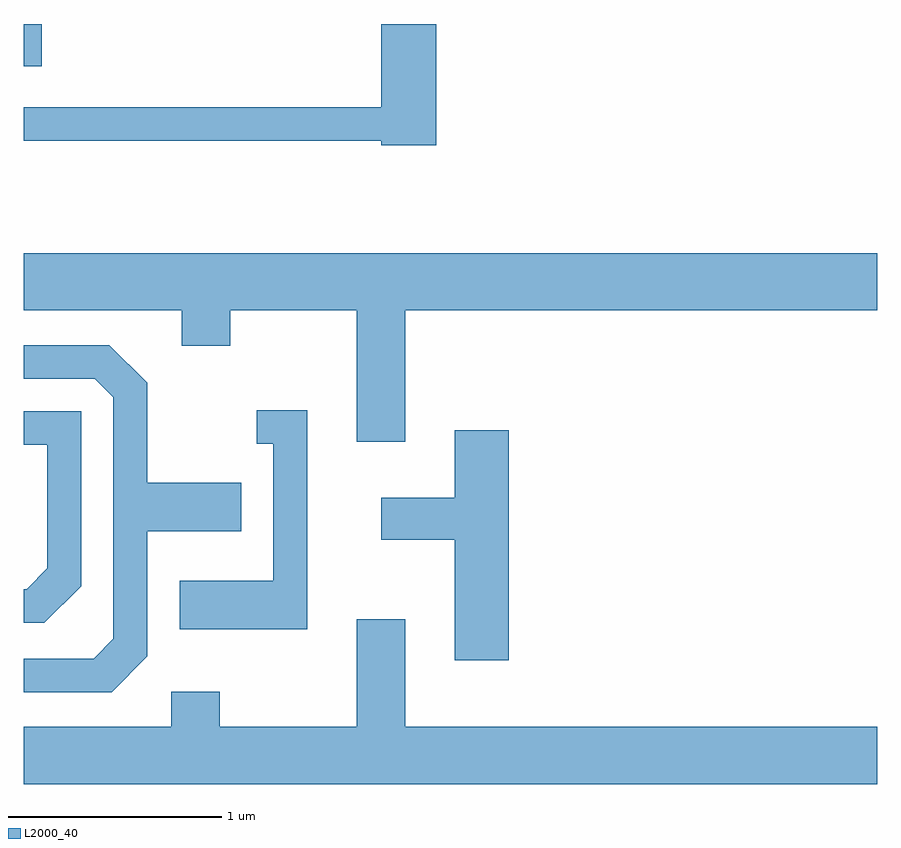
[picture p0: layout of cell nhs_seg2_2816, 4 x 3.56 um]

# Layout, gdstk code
import gdstk
lib = gdstk.Library(unit=1e-6, precision=1e-09)
def R(c, l, rs):  # rectangles x0, y0, x1, y1
    for r in rs: c.add(gdstk.rectangle(r[:2], r[2:], *l))
def P(c, l, *ps):  # polygons
    for p in ps: c.add(gdstk.Polygon(p, *l))
L2000_40 = (2000, 40)

nhs_seg2_2816 = lib.new_cell('nhs_seg2_2816')
R(nhs_seg2_2816, L2000_40, [(267.611,1049.461,267.694,1049.659)])
P(nhs_seg2_2816, L2000_40, [(269.544,1049.659),(269.286,1049.659),(269.286,1049.269),(267.611,1049.269),(267.611,1049.111),(269.286,1049.111),(269.286,1049.091),(269.544,1049.091)],
  [(269.399,1048.316),(271.611,1048.316),(271.611,1048.584),(267.611,1048.584),(267.611,1048.316),(268.351,1048.316),(268.351,1048.151),(268.579,1048.151),(268.579,1048.316),(269.171,1048.316),(269.171,1047.701),(269.399,1047.701)],
  [(268.189,1046.694),(268.189,1047.281),(268.629,1047.281),(268.629,1047.509),(268.189,1047.509),(268.189,1047.977),(268.012,1048.154),(267.611,1048.154),(267.611,1047.996),(267.944,1047.996),(268.031,1047.909),(268.031,1046.777),(267.939,1046.684),(267.611,1046.684),(267.611,1046.526),(268.022,1046.526)],
  [(268.939,1047.849),(268.703,1047.849),(268.703,1047.691),(268.781,1047.691),(268.781,1047.049),(268.341,1047.049),(268.341,1046.821),(268.939,1046.821)],
  [(267.879,1047.024),(267.879,1047.844),(267.611,1047.844),(267.611,1047.686),(267.721,1047.686),(267.721,1047.107),(267.624,1047.009),(267.611,1047.009),(267.611,1046.851),(267.707,1046.851)],
  [(269.884,1047.754),(269.631,1047.754),(269.631,1047.439),(269.286,1047.439),(269.286,1047.241),(269.631,1047.241),(269.631,1046.676),(269.884,1046.676)],
  [(271.611,1046.364),(269.399,1046.364),(269.399,1046.869),(269.171,1046.869),(269.171,1046.364),(268.529,1046.364),(268.529,1046.529),(268.301,1046.529),(268.301,1046.364),(267.611,1046.364),(267.611,1046.096),(271.611,1046.096)])

lib.write_gds('nhs_seg2_2816.gds')
